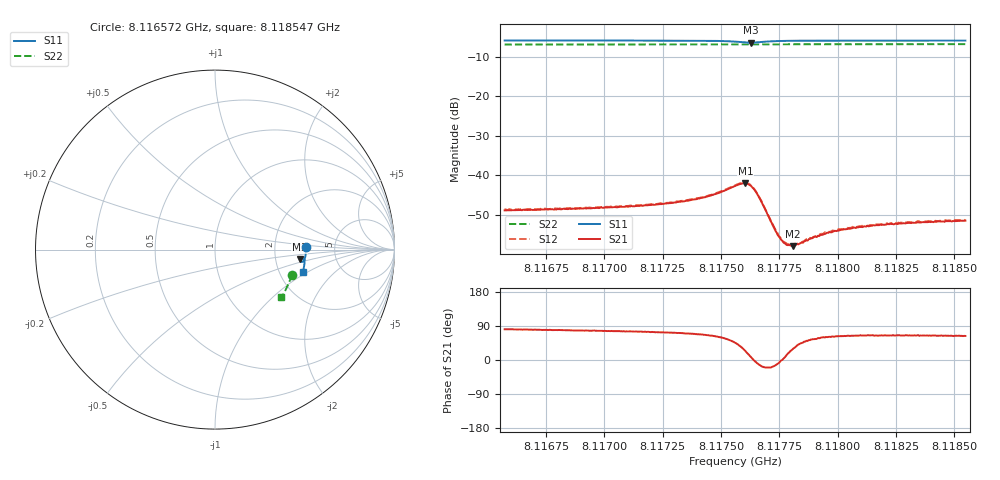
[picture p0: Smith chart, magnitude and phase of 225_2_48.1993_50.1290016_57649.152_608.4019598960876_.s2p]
#  HZ  S  RI  R  50.00
! Rohde & Schwarz Vector Network Analyzer
! Rohde-Schwarz,ZNB20-2Port,1311601062101988,3.16
! Created: UTC 3/20/2024, 11:46:07 AM
! freq[Hz]  re:S11  im:S11  re:S21  im:S21  re:S12  im:S12  re:S22  im:S22
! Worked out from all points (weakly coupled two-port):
!   401 points, 8.116572 GHz to 8.118547 GHz, reference 50 ohm
!   highest |S21| = -42.01 dB at 8.117604 GHz (marker M1); lowest = -57.9 dB at 8.117806 GHz (marker M2)
!   lowest |S11| = -6.5 dB at 8.117628 GHz (marker M3), VSWR 2.81, Z = 137 - j19.5 ohm
!   |S11| at or under -10 dB: nowhere
!   |S22| runs from -6.9 to -6.8 dB; largest |S21 - S12| = 0.00022
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8.116572e9  0.5066 0.0157  0.00056 0.00357  0.000621 0.00366  0.4274 -0.1407
8.1169028e9  0.5062 -0.00979  0.000796 0.00373  0.000861 0.00379  0.4204 -0.1624
8.1172335e9  0.5039 -0.0365  0.00126 0.00415  0.00128 0.0042  0.4124 -0.1844
8.1174112e9  0.5002 -0.0529  0.00197 0.00478  0.00207 0.00483  0.4076 -0.1959
8.1174853e9  0.4962 -0.0611  0.00283 0.00522  0.00297 0.0053  0.4052 -0.2007
8.1175593e9  0.485 -0.0684  0.00514 0.00527  0.00528 0.00529  0.4028 -0.2051
8.117584e9  0.4788 -0.0675  0.00637 0.00452  0.00657 0.00452  0.4016 -0.2067
8.1176038e9  0.4737 -0.0636  0.00727 0.00319  0.00743 0.0032  0.401 -0.2076
8.1176285e9  0.4719 -0.0549  0.00729 0.000922  0.00743 0.000878  0.4002 -0.2088
8.1176433e9  0.4744 -0.05  0.00655 -0.00027  0.00667 -0.00031  0.4 -0.2094
8.117663e9  0.4799 -0.0465  0.00516 -0.00118  0.00521 -0.00121  0.3998 -0.2105
8.1177321e9  0.4943 -0.0524  0.00196 -0.000494  0.00201 -0.00053  0.3983 -0.215
8.1177519e9  0.4961 -0.055  0.00163 -0.000129  0.00165 -0.000187  0.3978 -0.2164
8.1177766e9  0.4973 -0.0584  0.00134 0.000232  0.00139 0.000236  0.3971 -0.218
8.1177914e9  0.4978 -0.0605  0.00125 0.00045  0.00126 0.000464  0.3966 -0.219
8.1178062e9  0.4982 -0.0622  0.00112 0.000612  0.00119 0.00064  0.3962 -0.22
8.1178358e9  0.4987 -0.0658  0.00102 0.000924  0.00106 0.000924  0.3954 -0.2218
8.1178901e9  0.4988 -0.0715  0.000932 0.00131  0.000967 0.0013  0.3936 -0.2253
8.1179543e9  0.4984 -0.0774  0.000934 0.00165  0.000953 0.00166  0.3914 -0.2294
8.1180382e9  0.4976 -0.085  0.000931 0.00188  0.000954 0.00196  0.3887 -0.2346
8.1182209e9  0.4951 -0.0995  0.00104 0.00219  0.00101 0.00224  0.3824 -0.2458
8.1185467e9  0.4894 -0.1241  0.0012 0.0024  0.00126 0.00242  0.3703 -0.2652
